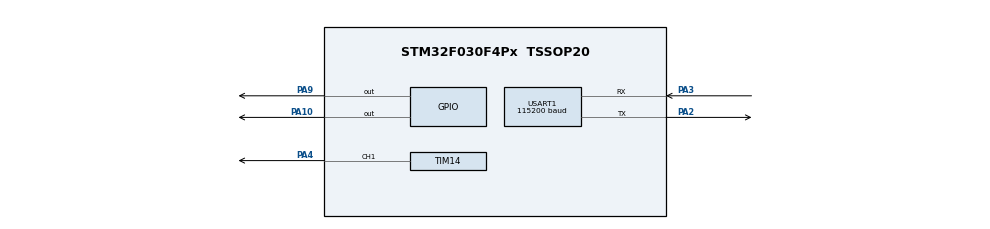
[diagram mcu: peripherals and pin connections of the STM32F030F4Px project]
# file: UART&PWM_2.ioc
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Mcu.Family=STM32F0
Mcu.Name=STM32F030F4Px
Mcu.Package=TSSOP20
NVIC.USART1_IRQn=true\:0\:0\:false\:true\:true\:1\:true
PA10.GPIO_PuPd=GPIO_NOPULL
PA10.Signal=GPIO_Output
PA2.Mode=Asynchronous
PA2.Signal=USART1_TX
PA3.Mode=Asynchronous
PA3.Signal=USART1_RX
PA4.Signal=S_TIM14_CH1
PA9.GPIO_PuPd=GPIO_NOPULL
PA9.Signal=GPIO_Output
ProjectManager.HeapSize=0x200
ProjectManager.StackSize=0x400
ProjectManager.TargetToolchain=MDK-ARM V5
SH.S_TIM14_CH1.0=TIM14_CH1,PWM Generation1 CH1
TIM14.Channel=TIM_CHANNEL_1
TIM14.Period=200
TIM14.Prescaler=24
USART1.BaudRate=115200
USART1.VirtualMode-Asynchronous=VM_ASYNC
VP_TIM14_VS_ClockSourceINT.Mode=Enable_Timer
board=UART&PWM_2

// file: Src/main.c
/**
  ******************************************************************************
  * File Name          : main.c
  * Description        : Main program body
  ******************************************************************************
  ** This notice applies to any and all portions of this file
  * that are not between comment pairs USER CODE BEGIN and
  * USER CODE END. Other portions of this file, whether
  * inserted by the user or by software development tools
  * are owned by their respective copyright owners.
  *
  * COPYRIGHT(c) 2017 STMicroelectronics
  *
  * Redistribution and use in source and binary forms, with or without modification,
  * are permitted provided that the following conditions are met:
  *   1. Redistributions of source code must retain the above copyright notice,
  *      this list of conditions and the following disclaimer.
  *   2. Redistributions in binary form must reproduce the above copyright notice,
  *      this list of conditions and the following disclaimer in the documentation
  *      and/or other materials provided with the distribution.
  *   3. Neither the name of STMicroelectronics nor the names of its contributors
  *      may be used to endorse or promote products derived from this software
  *      without specific prior written permission.
  *
  * THIS SOFTWARE IS PROVIDED BY THE COPYRIGHT HOLDERS AND CONTRIBUTORS "AS IS"
  * AND ANY EXPRESS OR IMPLIED WARRANTIES, INCLUDING, BUT NOT LIMITED TO, THE
  * IMPLIED WARRANTIES OF MERCHANTABILITY AND FITNESS FOR A PARTICULAR PURPOSE ARE
  * DISCLAIMED. IN NO EVENT SHALL THE COPYRIGHT HOLDER OR CONTRIBUTORS BE LIABLE
  * FOR ANY DIRECT, INDIRECT, INCIDENTAL, SPECIAL, EXEMPLARY, OR CONSEQUENTIAL
  * DAMAGES (INCLUDING, BUT NOT LIMITED TO, PROCUREMENT OF SUBSTITUTE GOODS OR
  * SERVICES; LOSS OF USE, DATA, OR PROFITS; OR BUSINESS INTERRUPTION) HOWEVER
  * CAUSED AND ON ANY THEORY OF LIABILITY, WHETHER IN CONTRACT, STRICT LIABILITY,
  * OR TORT (INCLUDING NEGLIGENCE OR OTHERWISE) ARISING IN ANY WAY OUT OF THE USE
  * OF THIS SOFTWARE, EVEN IF ADVISED OF THE POSSIBILITY OF SUCH DAMAGE.
  *
  ******************************************************************************
  */

#include "main.h"
#include "stm32f0xx_hal.h"
#include "tim.h"
#include "usart.h"
#include "gpio.h"

/* USER CODE BEGIN Includes */
#include "string.h"
#include "stdio.h"
#include "stdlib.h"
/* USER CODE END Includes */

/* USER CODE BEGIN PV */
/* Private variables ---------------------------------------------------------*/
uint8_t receive;
uint8_t send[]="test\n";
int times=0,dir=1,pwm=0;
char * a=0;
char * b=0;
char * c=0;
char * d=0;
#define rx_buffer_size 100

char rx_data[2],rx_buffer[rx_buffer_size],transfer,buffer[rx_buffer_size],rx_flag=0;
/* USER CODE END PV */

void SystemClock_Config(void);
static void MX_NVIC_Init(void);

/* USER CODE BEGIN PFP */
/* Private function prototypes -----------------------------------------------*/

/* USER CODE END PFP */

/* USER CODE BEGIN 0 */

/*void HAL_UART_RxCpltCallback(UART_HandleTypeDef *huart)
{
	char buff[100];
	sprintf(buff,"%d",receive);

    //HAL_UART_Transmit(&huart1,&receive,sizeof(receive),1000);
		//HAL_UART_Transmit(&huart1,(uint8_t *)&buff[10],sizeof(buff),1000);
		if(receive=='A')
		{
			HAL_UART_Transmit(&huart1,&receive,sizeof(receive),1000);
			HAL_GPIO_WritePin(GPIOA, GPIO_PIN_10, GPIO_PIN_SET);
		}
		if(receive=='B')
		{
			HAL_UART_Transmit(&huart1,&receive,sizeof(receive),1000);
			HAL_GPIO_WritePin(GPIOA, GPIO_PIN_10, GPIO_PIN_RESET);
		}
	  if(receive=='C')
		{
			HAL_UART_Transmit(&huart1,&receive,sizeof(receive),1000);
			HAL_GPIO_WritePin(GPIOA, GPIO_PIN_9, GPIO_PIN_SET);
		}
			if(receive=='D')
		{
			HAL_UART_Transmit(&huart1,&receive,sizeof(receive),1000);
			HAL_GPIO_WritePin(GPIOA, GPIO_PIN_9, GPIO_PIN_RESET);
		}
}*/

void HAL_UART_RxCpltCallback(UART_HandleTypeDef *huart)
{
	times++;
  uint8_t i;

	if(huart1.Instance==USART1)
 {
	 if(rx_flag==0)
  {
    for(i=0;i<100;i++)
		rx_buffer[i]=0;
  }
   if(rx_flag>rx_buffer_size)	rx_flag=0;
	 if(rx_data[0]!=10)
	 {
	  rx_buffer[rx_flag++]=rx_data[0];
	 }
	 else
	{
		rx_flag=0;
	  transfer=1;
	}

				if(transfer)
		{
		  sprintf(buffer,"%s",rx_buffer);
			a=strstr(buffer, "LED1 ON");
			b=strstr(buffer, "LED2 ON");
			c=strstr(buffer, "LED1 OFF");
			d=strstr(buffer, "LED2 OFF");
		if (a!=NULL )
		{
		 HAL_GPIO_WritePin(GPIOA,GPIO_PIN_9,GPIO_PIN_SET);
		}
		if(c!=NULL)
		{
		 HAL_GPIO_WritePin(GPIOA,GPIO_PIN_9,GPIO_PIN_RESET);
		}
		if (b!=NULL)
		{
		 HAL_GPIO_WritePin(GPIOA,GPIO_PIN_10,GPIO_PIN_SET);
		}
	  if(d!=NULL)
		{
		 HAL_GPIO_WritePin(GPIOA,GPIO_PIN_10,GPIO_PIN_RESET);
		}
		HAL_UART_Transmit(&huart1,buffer,sizeof(buffer),1000);
		transfer=0;
		}
	HAL_UART_Receive_IT(&huart1,rx_data,1);

 }
}

/* USER CODE END 0 */

int main(void)
{

  /* MCU Configuration----------------------------------------------------------*/

  /* Reset of all peripherals, Initializes the Flash interface and the Systick. */
  HAL_Init();

  /* Configure the system clock */
  SystemClock_Config();

  /* Initialize all configured peripherals */
  MX_GPIO_Init();
  MX_USART1_UART_Init();
  MX_TIM14_Init();

  /* Initialize interrupts */
  MX_NVIC_Init();

  /* USER CODE BEGIN 2 */
	HAL_TIM_PWM_Start(&htim14,TIM_CHANNEL_1);
  //HAL_UART_Receive_IT(&huart1,&receive,sizeof(receive));  	//__HAL_UART_ENABLE_IT(&huart1,UART_IT_RXNE);
  HAL_UART_Receive_IT(&huart1,rx_data,1);

/*  test LED
HAL_GPIO_WritePin(GPIOA,GPIO_PIN_4,GPIO_PIN_SET);
HAL_Delay(300);
HAL_GPIO_WritePin(GPIOA,GPIO_PIN_4,GPIO_PIN_RESET);
HAL_Delay(300);
HAL_GPIO_WritePin(GPIOA,GPIO_PIN_4,GPIO_PIN_SET);
HAL_Delay(300);
HAL_GPIO_WritePin(GPIOA,GPIO_PIN_4,GPIO_PIN_RESET);
HAL_Delay(300);
*/

  /* USER CODE END 2 */

  /* Infinite loop */
  /* USER CODE BEGIN WHILE */
  while (1)
  {
	  /**********************UART Transmit TEST**********************/
  //HAL_UART_Transmit(&huart1,send,sizeof(send),100);
  //HAL_Delay(1000);
		/**********************PWM**********************/

		if(dir)
		{
			pwm++;
			 HAL_UART_Receive_IT(&huart1,rx_data,1);
		}
		else
		{
			pwm--;
			 HAL_UART_Receive_IT(&huart1,rx_data,1);
		}
		if(pwm>200)dir=0;
		if(pwm==0)dir=1;
			 __HAL_TIM_SET_COMPARE(&htim14,TIM_CHANNEL_1,pwm);
			HAL_Delay(10);
  /* USER CODE END WHILE */

  }

}

/** System Clock Configuration
*/
void SystemClock_Config(void)
{

  RCC_OscInitTypeDef RCC_OscInitStruct;
  RCC_ClkInitTypeDef RCC_ClkInitStruct;
  RCC_PeriphCLKInitTypeDef PeriphClkInit;

    /**Initializes the CPU, AHB and APB busses clocks
    */
  RCC_OscInitStruct.OscillatorType = RCC_OSCILLATORTYPE_HSI;
  RCC_OscInitStruct.HSIState = RCC_HSI_ON;
  RCC_OscInitStruct.HSICalibrationValue = 16;
  RCC_OscInitStruct.PLL.PLLState = RCC_PLL_NONE;
  if (HAL_RCC_OscConfig(&RCC_OscInitStruct) != HAL_OK)
  {
    _Error_Handler(__FILE__, __LINE__);
  }

    /**Initializes the CPU, AHB and APB busses clocks
    */
  RCC_ClkInitStruct.ClockType = RCC_CLOCKTYPE_HCLK|RCC_CLOCKTYPE_SYSCLK
                              |RCC_CLOCKTYPE_PCLK1;
  RCC_ClkInitStruct.SYSCLKSource = RCC_SYSCLKSOURCE_HSI;
  RCC_ClkInitStruct.AHBCLKDivider = RCC_SYSCLK_DIV1;
  RCC_ClkInitStruct.APB1CLKDivider = RCC_HCLK_DIV1;

  if (HAL_RCC_ClockConfig(&RCC_ClkInitStruct, FLASH_LATENCY_0) != HAL_OK)
  {
    _Error_Handler(__FILE__, __LINE__);
  }

  PeriphClkInit.PeriphClockSelection = RCC_PERIPHCLK_USART1;
  PeriphClkInit.Usart1ClockSelection = RCC_USART1CLKSOURCE_PCLK1;
  if (HAL_RCCEx_PeriphCLKConfig(&PeriphClkInit) != HAL_OK)
  {
    _Error_Handler(__FILE__, __LINE__);
  }

    /**Configure the Systick interrupt time
    */
  HAL_SYSTICK_Config(HAL_RCC_GetHCLKFreq()/1000);

    /**Configure the Systick
    */
  HAL_SYSTICK_CLKSourceConfig(SYSTICK_CLKSOURCE_HCLK);

  /* SysTick_IRQn interrupt configuration */
  HAL_NVIC_SetPriority(SysTick_IRQn, 0, 0);
}

/** NVIC Configuration
*/
static void MX_NVIC_Init(void)
{
  /* USART1_IRQn interrupt configuration */
  HAL_NVIC_SetPriority(USART1_IRQn, 0, 0);
  HAL_NVIC_EnableIRQ(USART1_IRQn);
}

void _Error_Handler(char * file, int line)
{
  while(1)
  {
  }
}

/************************ (C) COPYRIGHT STMicroelectronics *****END OF FILE****/
